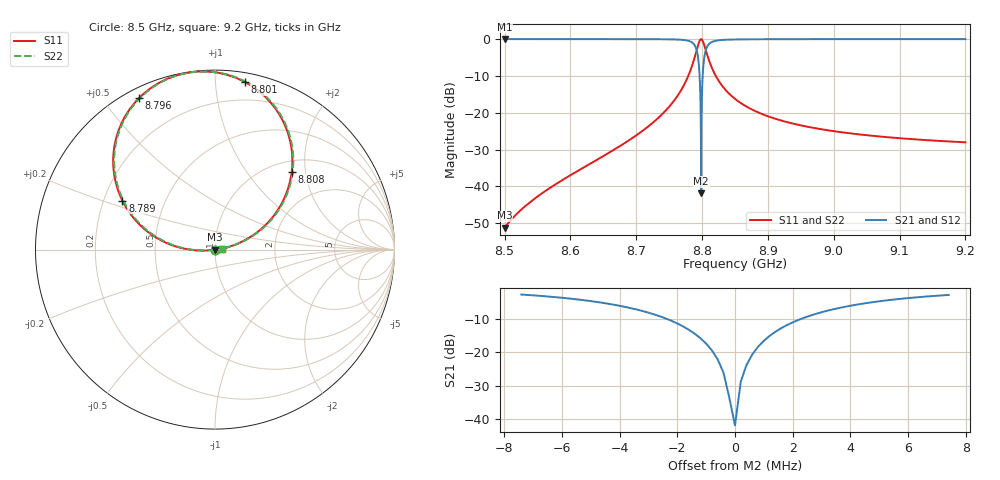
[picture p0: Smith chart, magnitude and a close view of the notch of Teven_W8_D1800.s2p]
! Sonnet Data File
! From: emgraph Version : 16.52
! From Project: transmon_brg
! Data is De-embedded
! Data File Written: 11/11/2017 22:44:25
!< HDATE 11/11/2017 16:55:33
!< MDATE 11/11/2017 17:38:18
!< PARAMS
!< Lj = 15.24
!< Gap = 6.0
!< Width = 10.0
!< Airgap = 6.0
!< Pwidth = 2000.0
!< Dist = 1800.0
!< END PARAMS
# GHZ S MA R 51.80000
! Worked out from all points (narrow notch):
!   3501 points, 8.5 GHz to 9.2 GHz, reference 51.8 ohm
!   highest |S21| = 0.00 dB at 8.5 GHz (marker M1); lowest = -41.9 dB at 8.799 GHz (marker M2)
!   notch at M2: 41.8 dB deep, 1.26 MHz wide at half that depth
!   lowest |S11| = -51.2 dB at 8.5 GHz (marker M3), VSWR 1.01, Z = 51.5 - j0.0515 ohm
!   |S11| at or under -10 dB: start of sweep to 8.779 GHz; 8.821 GHz to end of sweep
!   |S22| runs from -51.2 to 0.0 dB; largest |S21 - S12| = 0
!   S11 on the Smith chart (normalised r, x): 8.5 GHz: 0.99, -0.00; 8.789 GHz: 0.28, +0.23; 8.796 GHz: 0.04, +0.62; 8.801 GHz: 0.06, +1.19; 8.808 GHz: 1.22, +1.68; 9.2 GHz: 1.08, +0.01
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8.5  0.002744 -169.5  1 -79.8  1 -79.8  0.002744 -170.3
!< P1 F=8.5 Eeff=(6.44695349 -2.9785e-5) Z0=(51.7999087 1.19092e-4) R=0.0 C=0.0
!< P2 F=8.5 Eeff=(6.44695349 -2.9785e-5) Z0=(51.7999087 1.19092e-4) R=0.0 C=0.0
8.545  0.006739 -170.1  1 -80.4  1 -80.4  0.006739 -170.8
8.6168  0.01733 -171.4  0.9998 -81.7  0.9998 -81.7  0.01733 -172.1
8.7334  0.08492 -176.4  0.9964 -86.7  0.9964 -86.7  0.08492 -177.0
8.758  0.148 179.7  0.9889 -90.6  0.9889 -90.6  0.148 179.1
8.7758  0.2725 172.2  0.9619 -98.0  0.9619 -98.0  0.2725 171.6
8.7838  0.409 163.8  0.912 -106.4  0.912 -106.4  0.409 163.2
8.7892  0.5837 152.1  0.8108 -118.1  0.8108 -118.1  0.5837 151.5
8.7934  0.7968 134.9  0.6015 -135.2  0.6015 -135.2  0.7968 134.3
8.7944  0.8534 129.1  0.5175 -141.0  0.5175 -141.0  0.8534 128.5
8.7962  0.9442 116.7  0.3222 -153.2  0.3222 -153.2  0.9442 116.1
8.7986  0.9974 97.4  0.008075 -11.3  0.008075 -11.3  0.9974 96.8
8.8008  0.9494 80.0  0.3067 -10.8  0.3067 -10.8  0.9494 79.4
8.8036  0.8108 62.2  0.5825 -28.3  0.5825 -28.3  0.8108 61.6
8.8078  0.6095 45.4  0.7917 -45.0  0.7917 -45.0  0.6095 44.8
8.813  0.4474 34.4  0.8938 -56.0  0.8938 -56.0  0.4474 33.8
8.8204  0.3204 26.4  0.947 -64.0  0.947 -64.0  0.3204 25.8
8.85  0.1542 16.3  0.988 -74.0  0.988 -74.0  0.1542 15.7
8.8968  0.09165 12.2  0.9958 -78.1  0.9958 -78.1  0.09165 11.6
8.9668  0.06278 9.9  0.998 -80.4  0.998 -80.4  0.06278 9.3
9.0834  0.04632 7.9  0.9989 -82.5  0.9989 -82.5  0.04632 7.2
9.2  0.0396 6.4  0.9992 -83.9  0.9992 -83.9  0.0396 5.8
